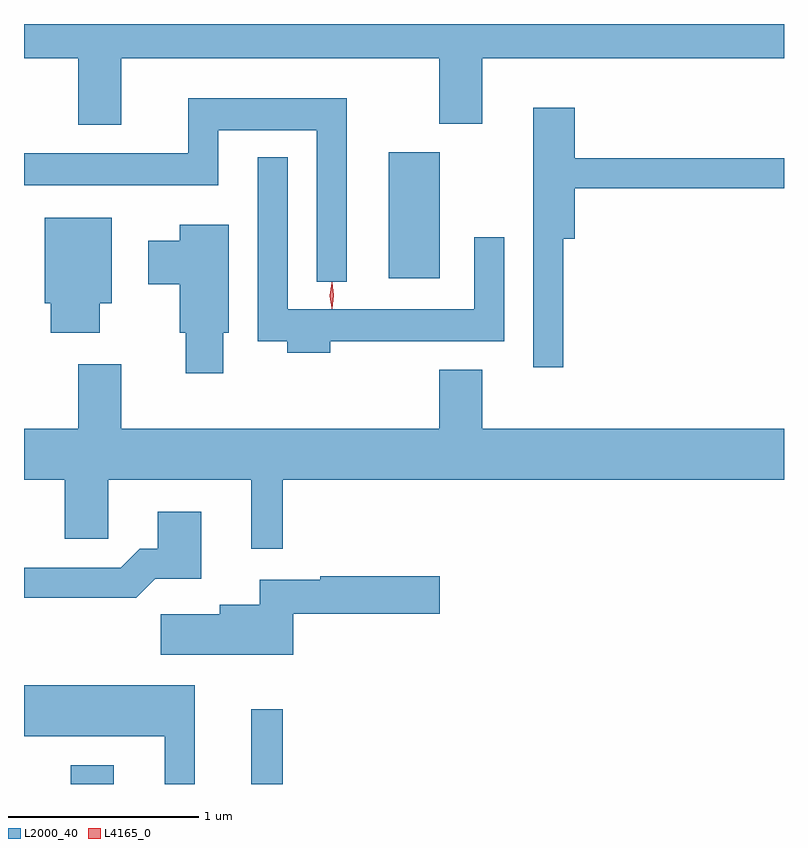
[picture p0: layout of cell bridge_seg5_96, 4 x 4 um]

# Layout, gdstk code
import gdstk
lib = gdstk.Library(unit=1e-6, precision=1e-09)
def R(c, l, rs):  # rectangles x0, y0, x1, y1
    for r in rs: c.add(gdstk.rectangle(r[:2], r[2:], *l))
def P(c, l, *ps):  # polygons
    for p in ps: c.add(gdstk.Polygon(p, *l))
L2000_40 = (2000, 40)
L4165_0 = (4165, 0)

bridge_seg5_96 = lib.new_cell('bridge_seg5_96')
R(bridge_seg5_96, L2000_40, [(1204.071,1488.495,1204.299,1488.594), (1205.021,1488.495,1205.189,1488.888), (1205.746,1491.156,1206.014,1491.819)])
P(bridge_seg5_96, L2000_40, [(1204.339,1492.316),(1206.011,1492.316),(1206.011,1491.971),(1206.239,1491.971),(1206.239,1492.316),(1207.826,1492.316),(1207.826,1492.495),(1203.826,1492.495),(1203.826,1492.316),(1204.111,1492.316),(1204.111,1491.966),(1204.339,1491.966)],
  [(1205.524,1492.104),(1204.691,1492.104),(1204.691,1491.814),(1203.826,1491.814),(1203.826,1491.646),(1204.849,1491.646),(1204.849,1491.936),(1205.366,1491.936),(1205.366,1491.138),(1205.524,1491.138)],
  [(1206.664,1491.366),(1206.724,1491.366),(1206.724,1491.631),(1207.826,1491.631),(1207.826,1491.789),(1206.724,1491.789),(1206.724,1492.054),(1206.506,1492.054),(1206.506,1490.688),(1206.664,1490.688)],
  [(1205.439,1490.826),(1206.354,1490.826),(1206.354,1491.373),(1206.196,1491.373),(1206.196,1490.994),(1205.214,1490.994),(1205.214,1491.793),(1205.056,1491.793),(1205.056,1490.826),(1205.211,1490.826),(1205.211,1490.766),(1205.439,1490.766)],
  [(1204.224,1491.026),(1204.289,1491.026),(1204.289,1491.474),(1203.936,1491.474),(1203.936,1491.026),(1203.966,1491.026),(1203.966,1490.871),(1204.224,1490.871)],
  [(1204.874,1490.871),(1204.904,1490.871),(1204.904,1491.439),(1204.646,1491.439),(1204.646,1491.354),(1204.481,1491.354),(1204.481,1491.126),(1204.646,1491.126),(1204.646,1490.871),(1204.676,1490.871),(1204.676,1490.656),(1204.874,1490.656)],
  [(1205.189,1490.096),(1207.826,1490.096),(1207.826,1490.364),(1206.239,1490.364),(1206.239,1490.674),(1206.011,1490.674),(1206.011,1490.364),(1204.339,1490.364),(1204.339,1490.704),(1204.111,1490.704),(1204.111,1490.364),(1203.826,1490.364),(1203.826,1490.096),(1204.041,1490.096),(1204.041,1489.786),(1204.269,1489.786),(1204.269,1490.096),(1205.021,1490.096),(1205.021,1489.733),(1205.189,1489.733)],
  [(1204.517,1489.576),(1204.759,1489.576),(1204.759,1489.929),(1204.531,1489.929),(1204.531,1489.734),(1204.434,1489.734),(1204.334,1489.634),(1203.826,1489.634),(1203.826,1489.476),(1204.417,1489.476)],
  [(1205.244,1489.391),(1206.014,1489.391),(1206.014,1489.589),(1205.386,1489.589),(1205.386,1489.569),(1205.066,1489.569),(1205.066,1489.439),(1204.856,1489.439),(1204.856,1489.389),(1204.546,1489.389),(1204.546,1489.176),(1205.244,1489.176)],
  [(1204.724,1489.014),(1203.826,1489.014),(1203.826,1488.746),(1204.566,1488.746),(1204.566,1488.495),(1204.724,1488.495)])
P(bridge_seg5_96, L4165_0, [(1205.446,1490.999),(1205.445,1491),(1205.436,1491.066),(1205.445,1491.132),(1205.446,1491.133),(1205.446,1491.132),(1205.456,1491.066),(1205.446,1491)],
  [(1205.447,1490.997),(1205.447,1490.997),(1205.437,1491.067),(1205.447,1491.136),(1205.447,1491.136),(1205.448,1491.136),(1205.457,1491.067),(1205.448,1490.997)])

lib.write_gds('bridge_seg5_96.gds')
